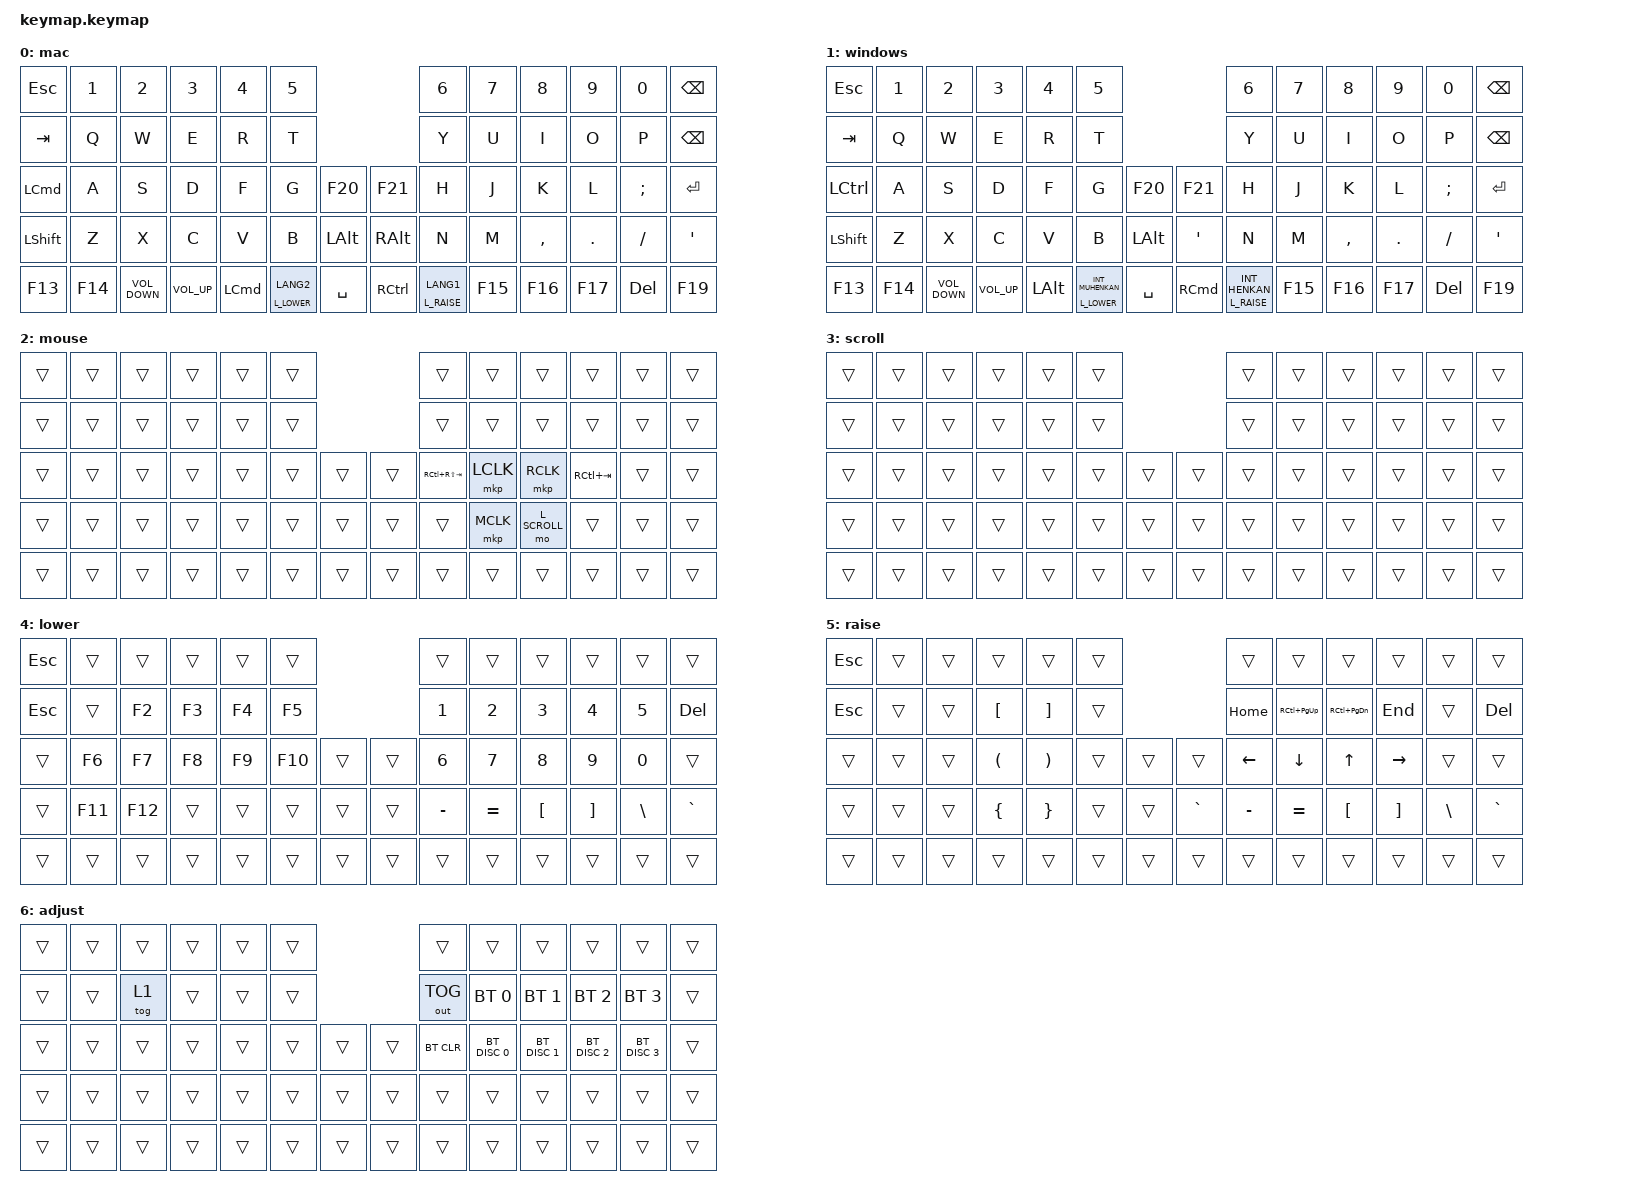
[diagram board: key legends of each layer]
#include <behaviors.dtsi>
#include <dt-bindings/zmk/bt.h>
#include <dt-bindings/zmk/keys.h>
#include <dt-bindings/zmk/outputs.h>
#include <dt-bindings/zmk/pointing.h>

#define L_MAC     0
#define L_WIN     1
#define L_MOUSE   2
#define L_SCROLL  3
#define L_LOWER   4
#define L_RAISE   5
#define L_ADJUST  6

/ {
    behaviors {
        mt2: mod_tap2 {
            compatible = "zmk,behavior-hold-tap";
            #binding-cells = <2>;
            flavor = "hold-preferred";
            tapping-term-ms = <200>;
            quick-tap-ms = <200>;
            require-prior-idle-ms = <125>;
            bindings = <&kp>, <&kp>;
        };

        mt: mod_tap {
            compatible = "zmk,behavior-hold-tap";
            #binding-cells = <2>;
            flavor = "hold-preferred";
            tapping-term-ms = <200>;
            bindings = <&kp>, <&kp>;

            display-name = "Mod-Tap";
        };

        lt: layer_tap {
            compatible = "zmk,behavior-hold-tap";
            #binding-cells = <2>;
            flavor = "hold-preferred";
            tapping-term-ms = <200>;
            bindings = <&mo>, <&kp>;

            hold-while-undecided;
            display-name = "Layer-Tap";
        };

        lt_to_layer_0: lt_to_layer_0 {
            compatible = "zmk,behavior-hold-tap";
            #binding-cells = <2>;
            flavor = "hold-preferred";
            tapping-term-ms = <200>;
            bindings = <&mo>, <&to_layer_0>;

            hold-while-undecided;
            label = "LAYER_TAP_TO_0";
        };

        lt_to_layer_1: lt_to_layer_1 {
            compatible = "zmk,behavior-hold-tap";
            #binding-cells = <2>;
            flavor = "hold-preferred";
            tapping-term-ms = <200>;
            bindings = <&mo>, <&to_layer_1>;

            hold-while-undecided;
            label = "LAYER_TAP_TO_1";
        };

        tog_on: toggle_layer_on_only {
            compatible = "zmk,behavior-toggle-layer";
            #binding-cells = <1>;
            display-name = "Toggle Layer On";
            toggle-mode = "on";
        };

        tog_off: toggle_layer_off_only {
            compatible = "zmk,behavior-toggle-layer";
            #binding-cells = <1>;
            display-name = "Toggle Layer Off";
            toggle-mode = "off";
        };
    };

    macros {
        to_layer_0: to_layer_0 {
            compatible = "zmk,behavior-macro-one-param";
            #binding-cells = <1>;
            bindings = <&to 0 &macro_param_1to1 &kp MACRO_PLACEHOLDER>;
            label = "TO_LAYER_0";
        };

        to_layer_1: to_layer_1 {
            compatible = "zmk,behavior-macro-one-param";
            #binding-cells = <1>;
            bindings = <&to 1 &macro_param_1to1 &kp MACRO_PLACEHOLDER>;
            label = "TO_LAYER_1";
        };
    };

    combos {
        compatible = "zmk,combos";

        bt_clear {
            bindings = <&bt BT_CLR>;
            key-positions = <28 29>;
            layers = <2>;
        };

		QW_TAB {
            bindings = <&kp TAB>;
            key-positions = <13 14>;
        };
    };

    keymap {
        compatible = "zmk,keymap";

        L_MAC {
            display-name = "mac";
            bindings = <
&kp ESC    &kp N1  &kp N2               &kp N3          &kp N4   &kp N5                                               &kp N6                        &kp N7    &kp N8     &kp N9     &kp N0     &kp BSPC
&kp TAB    &kp Q   &kp W               &kp E           &kp R    &kp T                                                &kp Y                         &kp U     &kp I      &kp O      &kp P      &kp BSPC
&kp LCMD   &kp A   &kp S               &kp D           &kp F    &kp G                        &kp F20    &kp F21      &kp H                         &kp J     &kp K      &kp L      &kp SEMI   &kp ENTER
&kp LSHFT  &kp Z   &kp X               &kp C           &kp V    &kp B                        &kp LALT   &kp RALT     &kp N                         &kp M     &kp COMMA  &kp PERIOD &kp SLASH  &kp SQT
&kp F13    &kp F14 &kp C_VOLUME_DOWN   &kp C_VOLUME_UP &kp LCMD &lt_to_layer_0 L_LOWER LANG2 &kp SPACE  &kp RCTRL    &lt_to_layer_0 L_RAISE LANG1  &kp F15   &kp F16    &kp F17    &kp DELETE &kp F19
            >;
        };

        L_WIN {
            display-name = "windows";
            bindings = <
&kp ESC    &kp N1   &kp N2            &kp N3          &kp N4    &kp N5                                                       &kp N6                             &kp N7    &kp N8     &kp N9     &kp N0     &kp BSPC
&kp TAB    &kp Q    &kp W             &kp E           &kp R     &kp T                                                        &kp Y                              &kp U     &kp I      &kp O      &kp P      &kp BSPC
&kp LCTRL  &kp A    &kp S             &kp D           &kp F     &kp G                                &kp F20    &kp F21      &kp H                              &kp J     &kp K      &kp L      &kp SEMI   &kp ENTER
&kp LSHFT  &kp Z    &kp X             &kp C           &kp V     &kp B                                &kp LALT   &kp SQT      &kp N                              &kp M     &kp COMMA  &kp PERIOD &kp SLASH  &kp SQT
&kp F13    &kp F14  &kp C_VOLUME_DOWN &kp C_VOLUME_UP &kp LALT  &lt_to_layer_1 L_LOWER INT_MUHENKAN  &kp SPACE  &kp RCMD     &lt_to_layer_1 L_RAISE INT_HENKAN  &kp F15   &kp F16    &kp F17    &kp DELETE &kp F19
            >;
        };

        MOUSE {
            display-name = "mouse";
            bindings = <
&trans  &trans  &trans  &trans     &trans     &trans                  &trans           &trans     &trans        &trans       &trans  &trans
&trans  &trans  &trans  &trans     &trans     &trans                  &trans           &trans     &trans        &trans       &trans  &trans
&trans  &trans  &trans  &trans     &trans     &trans  &trans  &trans  &kp RC(RS(TAB))  &mkp LCLK  &mkp RCLK     &kp RC(TAB)  &trans  &trans
&trans  &trans  &trans  &trans     &trans     &trans  &trans  &trans  &trans           &mkp MCLK  &mo L_SCROLL  &trans       &trans  &trans
&trans  &trans  &trans  &trans     &trans     &trans  &trans  &trans  &trans           &trans     &trans        &trans       &trans  &trans
            >;
        };

        SCROLL {
            display-name = "scroll";
            bindings = <
&trans  &trans  &trans  &trans     &trans     &trans                  &trans  &trans     &trans     &trans  &trans  &trans
&trans  &trans  &trans  &trans     &trans     &trans                  &trans  &trans     &trans     &trans  &trans  &trans
&trans  &trans  &trans  &trans     &trans     &trans  &trans  &trans  &trans  &trans     &trans     &trans  &trans  &trans
&trans  &trans  &trans  &trans     &trans     &trans  &trans  &trans  &trans  &trans     &trans     &trans  &trans  &trans
&trans  &trans  &trans  &trans     &trans     &trans  &trans  &trans  &trans  &trans     &trans     &trans  &trans  &trans
            >;
        };

        LOWER {
            display-name = "lower";
            bindings = <
&kp ESC &trans   &trans   &trans     &trans     &trans                      &trans     &trans     &trans    &trans    &trans    &trans
&kp ESC &trans   &kp F2   &kp F3     &kp F4     &kp F5                      &kp N1     &kp N2     &kp N3    &kp N4    &kp N5    &kp DELETE
&trans  &kp F6   &kp F7   &kp F8     &kp F9     &kp F10  &trans  &trans     &kp N6     &kp N7     &kp N8    &kp N9    &kp N0    &trans
&trans  &kp F11  &kp F12  &trans     &trans     &trans   &trans  &trans     &kp MINUS  &kp EQUAL  &kp LBKT  &kp RBKT  &kp BSLH  &kp GRAVE
&trans  &trans   &trans   &trans     &trans     &trans   &trans  &trans     &trans     &trans     &trans    &trans    &trans    &trans
            >;
        };

        RAISE {
            display-name = "raise";
            bindings = <
&kp ESC &trans  &trans  &trans                &trans                 &trans                      &trans     &trans         &trans         &trans     &trans    &trans
&kp ESC &trans  &trans  &kp LBKT              &kp RBKT               &trans                      &kp HOME   &kp RC(PG_UP)  &kp RC(PG_DN)  &kp END    &trans    &kp DEL
&trans  &trans  &trans  &kp LEFT_PARENTHESIS  &kp RIGHT_PARENTHESIS  &trans   &trans  &trans     &kp LEFT   &kp DOWN       &kp UP         &kp RIGHT  &trans    &trans
&trans  &trans  &trans  &kp LEFT_BRACE        &kp RIGHT_BRACE        &trans   &trans  &kp GRAVE  &kp MINUS  &kp EQUAL      &kp LBKT       &kp RBKT   &kp BSLH  &kp GRAVE
&trans  &trans  &trans  &trans                &trans                 &trans   &trans  &trans     &trans     &trans         &trans         &trans     &trans    &trans
            >;
        };

		ADJUST {
            display-name = "adjust";
            bindings = <
&trans  &trans  &trans  &trans     &trans     &trans                  &trans        &trans        &trans        &trans        &trans         &trans
&trans  &trans  &tog 1  &trans     &trans     &trans                  &out OUT_TOG  &bt BT_SEL 0  &bt BT_SEL 1  &bt BT_SEL 2  &bt BT_SEL 3   &trans
&trans  &trans  &trans  &trans     &trans     &trans  &trans  &trans  &bt BT_CLR    &bt BT_DISC 0 &bt BT_DISC 1 &bt BT_DISC 2 &bt BT_DISC 3  &trans
&trans  &trans  &trans  &trans     &trans     &trans  &trans  &trans  &trans        &trans        &trans        &trans        &trans         &trans
&trans  &trans  &trans  &trans     &trans     &trans  &trans  &trans  &trans        &trans        &trans        &trans        &trans         &trans
            >;
        };

    };
	
	conditional_layers {
        compatible = "zmk,conditional-layers";

        Adjust {
            if-layers = <4 5>;
            then-layer = <6>;
        };
    };
};
